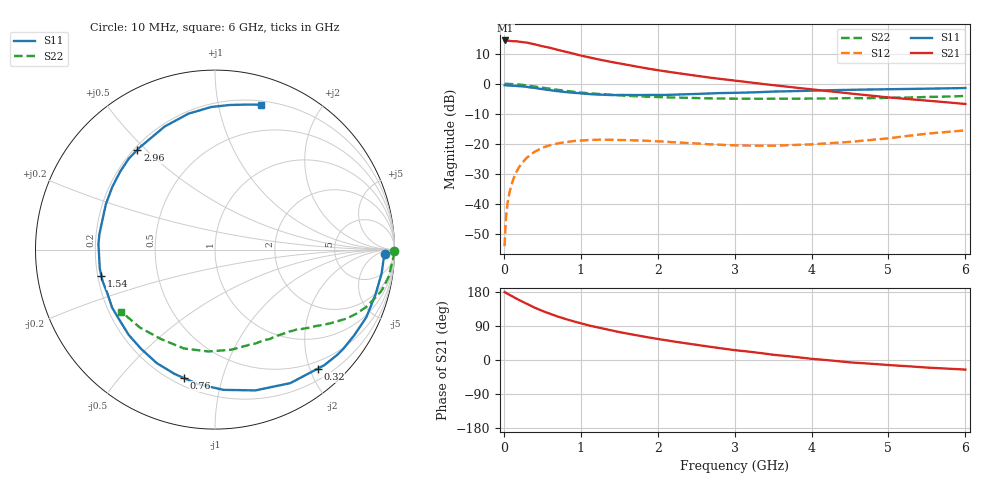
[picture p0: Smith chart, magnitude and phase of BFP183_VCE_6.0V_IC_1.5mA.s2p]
! Infineon Technologies  Discrete & RF Semiconductors
! BFP183
! VCE = 6.0 V,  IC =  1.5 mA
! Common Emitter S-Parameters:  Jan 2016
# GHz  S  MA  R  50
!  f  S11  S21  S12  S22
! GHz  MAG  ANG  MAG  ANG  MAG  ANG  MAG  ANG
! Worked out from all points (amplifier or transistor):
!   210 points, 10 MHz to 6 GHz, reference 50 ohm
!   highest |S21| = 14.4 dB at 20 MHz (marker M1)
!   |S21| within 3 dB of that: start of sweep to 681.4 MHz
!   unconditionally stable (mu >= 1): 2.303 GHz to 5.93 GHz
!   at 185 MHz: K = 0.09, MSG = 21.2 dB, |S12| = -28.3 dB
!   at 1.52 GHz: K = 0.64, MSG = 12.7 dB, |S12| = -18.7 dB
!   at 6 GHz: K = 0.98, MSG = 4.4 dB, |S12| = -15.5 dB
!   S11 on the Smith chart (normalised r, x): 10 MHz: 29, -14; 320 MHz: 0.37, -2.13; 760 MHz: 0.24, -0.76; 1.54 GHz: 0.22, -0.11; 2.96 GHz: 0.21, +0.47; 6 GHz: 0.23, +1.34
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0.01  0.9454 -1.6  5.169 179.2  0.002 85.8  0.9999 -0.6
0.02  0.9408 -3.3  5.232 178.4  0.0041 86.2  0.9982 -1.2
0.05  0.9378 -8.1  5.19 174.5  0.0107 89.1  0.9936 -2.9
0.115  0.925 -18.3  5.088 167.4  0.0242 78.3  0.9835 -6.6
0.15  0.9234 -24.2  5.099 163.5  0.0316 76.0  0.9798 -8.7
0.2  0.9108 -31.6  5.008 158.1  0.0414 71.4  0.9683 -11.3
0.32  0.8758 -49.3  4.752 146.4  0.0619 61.4  0.9282 -17.2
0.4  0.854 -60.6  4.527 138.2  0.0739 55.4  0.9011 -20.8
0.5  0.8161 -74.0  4.201 129.5  0.0861 48.4  0.8634 -24.5
0.6  0.7829 -86.5  3.955 121.7  0.0954 42.2  0.8271 -27.7
0.76  0.7359 -103.7  3.511 110.8  0.1049 34.2  0.7739 -31.7
0.9  0.7107 -117.2  3.166 102.3  0.1113 28.1  0.7358 -34.7
1.02  0.6856 -128.3  2.902 95.8  0.1142 23.9  0.7101 -36.7
1.28  0.6579 -149.1  2.46 83.3  0.1174 16.3  0.6682 -41.0
1.54  0.6496 -166.8  2.13 72.2  0.1159 11.2  0.6348 -44.7
2.02  0.6483 165.8  1.663 54.9  0.1104 5.3  0.6005 -51.8
2.4  0.6703 148.7  1.414 43.0  0.1035 3.3  0.5839 -58.6
2.96  0.7045 127.9  1.143 27.1  0.0949 6.0  0.5652 -69.3
3.1  0.7102 123.6  1.088 23.9  0.0941 7.4  0.5627 -72.2
4.1  0.7744 99.1  0.782 1.5  0.1001 19.3  0.5678 -96.5
5.1  0.8127 82.8  0.578 -14.5  0.1285 26.9  0.5837 -123.5
6  0.8475 72.3  0.461 -25.4  0.1679 22.8  0.6264 -146.5
